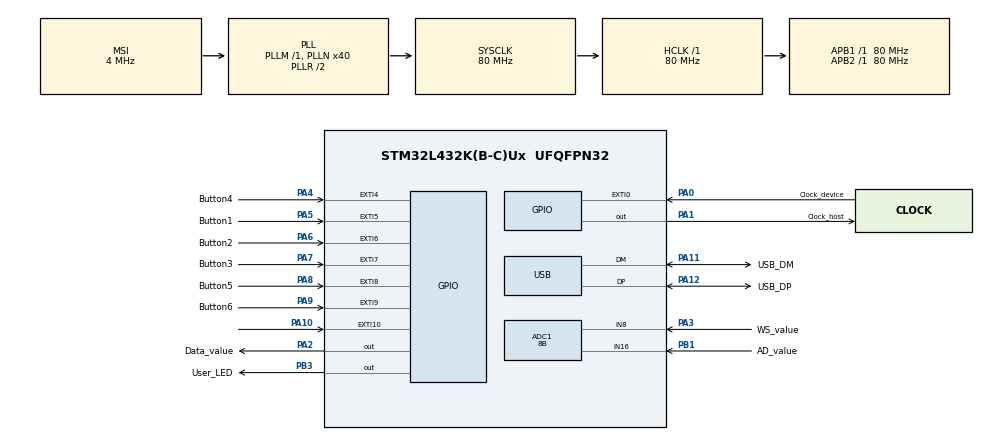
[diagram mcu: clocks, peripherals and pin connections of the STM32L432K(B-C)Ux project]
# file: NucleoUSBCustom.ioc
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ADC1.Channel-4\#ChannelRegularConversion=ADC_CHANNEL_16
ADC1.Channel-5\#ChannelRegularConversion=ADC_CHANNEL_8
ADC1.ClockPrescaler=ADC_CLOCK_SYNC_PCLK_DIV2
ADC1.ContinuousConvMode=ENABLE
ADC1.DMAContinuousRequests=ENABLE
ADC1.DataAlign=ADC_DATAALIGN_RIGHT
ADC1.DiscontinuousConvMode=DISABLE
ADC1.EOCSelection=ADC_EOC_SINGLE_CONV
ADC1.EnableAnalogWatchDog1=false
ADC1.EnableAnalogWatchDog2=false
ADC1.EnableAnalogWatchDog3=false
ADC1.EnableInjectedConversion=DISABLE
ADC1.EnableRegularConversion=ENABLE
ADC1.ExternalTrigConv=ADC_SOFTWARE_START
ADC1.ExternalTrigConvEdge=ADC_EXTERNALTRIGCONVEDGE_NONE
ADC1.LowPowerAutoWait=DISABLE
ADC1.NbrOfConversion=2
ADC1.NbrOfConversionFlag=1
ADC1.OffsetNumber-4\#ChannelRegularConversion=ADC_OFFSET_NONE
ADC1.OffsetNumber-5\#ChannelRegularConversion=ADC_OFFSET_NONE
ADC1.Overrun=ADC_OVR_DATA_PRESERVED
ADC1.OversamplingMode=DISABLE
ADC1.Rank-4\#ChannelRegularConversion=1
ADC1.Rank-5\#ChannelRegularConversion=2
ADC1.Resolution=ADC_RESOLUTION_8B
ADC1.SamplingTime-4\#ChannelRegularConversion=ADC_SAMPLETIME_640CYCLES_5
ADC1.SamplingTime-5\#ChannelRegularConversion=ADC_SAMPLETIME_640CYCLES_5
ADC1.ScanConvMode=ADC_SCAN_ENABLE
ADC1.master=1
Dma.ADC1.0.Direction=DMA_PERIPH_TO_MEMORY
Dma.ADC1.0.Instance=DMA2_Channel3
Dma.ADC1.0.MemDataAlignment=DMA_MDATAALIGN_HALFWORD
Dma.ADC1.0.MemInc=DMA_MINC_ENABLE
Dma.ADC1.0.Mode=DMA_CIRCULAR
Dma.ADC1.0.PeriphDataAlignment=DMA_PDATAALIGN_HALFWORD
Dma.ADC1.0.PeriphInc=DMA_PINC_DISABLE
Dma.ADC1.0.Priority=DMA_PRIORITY_LOW
Dma.Request0=ADC1
Mcu.Family=STM32L4
Mcu.Name=STM32L432K(B-C)Ux
Mcu.Package=UFQFPN32
NVIC.ADC1_IRQn=true\:0\:0\:false\:false\:true\:true
NVIC.DMA2_Channel3_IRQn=true\:0\:0\:false\:false\:true\:false
NVIC.EXTI0_IRQn=true\:0\:0\:false\:false\:true\:true
NVIC.EXTI15_10_IRQn=true\:0\:0\:false\:false\:true\:true
NVIC.EXTI4_IRQn=true\:0\:0\:false\:false\:true\:true
NVIC.EXTI9_5_IRQn=true\:0\:0\:false\:false\:true\:true
NVIC.PriorityGroup=NVIC_PRIORITYGROUP_4
NVIC.TIM1_UP_TIM16_IRQn=true\:0\:0\:false\:false\:true\:true
NVIC.TIM7_IRQn=true\:0\:0\:false\:false\:true\:true
NVIC.USB_IRQn=true\:0\:0\:false\:false\:true\:false
PA0.GPIO_Label=Clock_device
PA0.GPIO_ModeDefaultEXTI=GPIO_MODE_IT_RISING_FALLING
PA0.GPIO_PuPd=GPIO_PULLUP
PA0.Signal=GPXTI0
PA1.GPIO_Label=Clock_host
PA1.GPIO_ModeDefaultOutputPP=GPIO_MODE_OUTPUT_OD
PA1.GPIO_PuPd=GPIO_PULLUP
PA1.GPIO_Speed=GPIO_SPEED_FREQ_HIGH
PA1.PinState=GPIO_PIN_SET
PA1.Signal=GPIO_Output
PA10.GPIO_PuPd=GPIO_PULLUP
PA10.Signal=GPXTI10
PA11.GPIO_Label=USB_DM
PA11.Mode=Device
PA11.Signal=USB_DM
PA12.GPIO_Label=USB_DP
PA12.Mode=Device
PA12.Signal=USB_DP
PA2.GPIO_Label=Data_value
PA2.GPIO_ModeDefaultOutputPP=GPIO_MODE_OUTPUT_OD
PA2.GPIO_PuPd=GPIO_PULLUP
PA2.GPIO_Speed=GPIO_SPEED_FREQ_HIGH
PA2.PinState=GPIO_PIN_SET
PA2.Signal=GPIO_Output
PA3.GPIO_Label=WS_value
PA3.Signal=ADCx_IN8
PA4.GPIO_Label=Button4
PA4.GPIO_ModeDefaultEXTI=GPIO_MODE_IT_RISING_FALLING
PA4.GPIO_PuPd=GPIO_PULLUP
PA4.Signal=GPXTI4
PA5.GPIO_Label=Button1
PA5.GPIO_ModeDefaultEXTI=GPIO_MODE_IT_RISING_FALLING
PA5.GPIO_PuPd=GPIO_PULLUP
PA5.Signal=GPXTI5
PA6.GPIO_Label=Button2
PA6.GPIO_ModeDefaultEXTI=GPIO_MODE_IT_RISING_FALLING
PA6.GPIO_PuPd=GPIO_PULLUP
PA6.Signal=GPXTI6
PA7.GPIO_Label=Button3
PA7.GPIO_ModeDefaultEXTI=GPIO_MODE_IT_RISING_FALLING
PA7.GPIO_PuPd=GPIO_PULLUP
PA7.Signal=GPXTI7
PA8.GPIO_Label=Button5
PA8.GPIO_ModeDefaultEXTI=GPIO_MODE_IT_RISING_FALLING
PA8.GPIO_PuPd=GPIO_PULLUP
PA8.Signal=GPXTI8
PA9.GPIO_Label=Button6
PA9.GPIO_ModeDefaultEXTI=GPIO_MODE_IT_RISING_FALLING
PA9.GPIO_PuPd=GPIO_PULLUP
PA9.Signal=GPXTI9
PB1.GPIO_Label=AD_value
PB1.Signal=ADCx_IN16
PB3\ (JTDO-TRACESWO).GPIO_Label=User_LED
PB3\ (JTDO-TRACESWO).PinState=GPIO_PIN_RESET
PB3\ (JTDO-TRACESWO).Signal=GPIO_Output
ProjectManager.HeapSize=0x200
ProjectManager.StackSize=0x400
ProjectManager.TargetToolchain=SW4STM32
RCC.ADCFreq_Value=48000000
RCC.AHBFreq_Value=80000000
RCC.APB1Freq_Value=80000000
RCC.APB1TimFreq_Value=80000000
RCC.APB2Freq_Value=80000000
RCC.APB2TimFreq_Value=80000000
RCC.CortexFreq_Value=80000000
RCC.HCLKFreq_Value=80000000
RCC.HSE_VALUE=8000000
RCC.HSI48_VALUE=48000000
RCC.HSI_VALUE=16000000
RCC.LSE_VALUE=32768
RCC.MSI_VALUE=4000000
RCC.PLLN=40
RCC.PLLSAI1N=24
RCC.SYSCLKFreq_VALUE=80000000
RCC.SYSCLKSource=RCC_SYSCLKSOURCE_PLLCLK
RCC.USBFreq_Value=48000000
RCC.VCOOutputFreq_Value=160000000
SH.ADCx_IN16.0=ADC1_IN16,IN16-Single-Ended
SH.ADCx_IN8.0=ADC1_IN8,IN8-Single-Ended
TIM16.AutoReloadPreload=TIM_AUTORELOAD_PRELOAD_ENABLE
TIM16.Period=9999
TIM16.Prescaler=159
TIM7.AutoReloadPreload=TIM_AUTORELOAD_PRELOAD_ENABLE
TIM7.Period=999
TIM7.Prescaler=11
USB_DEVICE.CLASS_NAME_FS=CUSTOMHID
USB_DEVICE.VirtualMode=CustomHid
USB_DEVICE.VirtualModeFS=Custom_Hid_FS
VP_TIM16_VS_ClockSourceINT.Mode=Enable_Timer
VP_TIM6_VS_ClockSourceINT.Mode=Enable_Timer
VP_TIM7_VS_ClockSourceINT.Mode=Enable_Timer
VP_USB_DEVICE_VS_USB_DEVICE_CUSTOM_HID_FS.Mode=CUSTOM_HID_FS
board=custom

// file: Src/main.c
/**
  ******************************************************************************
  * @file           : main.c
  * @brief          : Main program body
  ******************************************************************************
  * This notice applies to any and all portions of this file
  * that are not between comment pairs USER CODE BEGIN and
  * USER CODE END. Other portions of this file, whether
  * inserted by the user or by software development tools
  * are owned by their respective copyright owners.
  *
  * Copyright (c) 2018 STMicroelectronics International N.V.
  * All rights reserved.
  *
  * Redistribution and use in source and binary forms, with or without
  * modification, are permitted, provided that the following conditions are met:
  *
  * 1. Redistribution of source code must retain the above copyright notice,
  *    this list of conditions and the following disclaimer.
  * 2. Redistributions in binary form must reproduce the above copyright notice,
  *    this list of conditions and the following disclaimer in the documentation
  *    and/or other materials provided with the distribution.
  * 3. Neither the name of STMicroelectronics nor the names of other
  *    contributors to this software may be used to endorse or promote products
  *    derived from this software without specific written permission.
  * 4. This software, including modifications and/or derivative works of this
  *    software, must execute solely and exclusively on microcontroller or
  *    microprocessor devices manufactured by or for STMicroelectronics.
  * 5. Redistribution and use of this software other than as permitted under
  *    this license is void and will automatically terminate your rights under
  *    this license.
  *
  * THIS SOFTWARE IS PROVIDED BY STMICROELECTRONICS AND CONTRIBUTORS "AS IS"
  * AND ANY EXPRESS, IMPLIED OR STATUTORY WARRANTIES, INCLUDING, BUT NOT
  * LIMITED TO, THE IMPLIED WARRANTIES OF MERCHANTABILITY, FITNESS FOR A
  * PARTICULAR PURPOSE AND NON-INFRINGEMENT OF THIRD PARTY INTELLECTUAL PROPERTY
  * RIGHTS ARE DISCLAIMED TO THE FULLEST EXTENT PERMITTED BY LAW. IN NO EVENT
  * SHALL STMICROELECTRONICS OR CONTRIBUTORS BE LIABLE FOR ANY DIRECT, INDIRECT,
  * INCIDENTAL, SPECIAL, EXEMPLARY, OR CONSEQUENTIAL DAMAGES (INCLUDING, BUT NOT
  * LIMITED TO, PROCUREMENT OF SUBSTITUTE GOODS OR SERVICES; LOSS OF USE, DATA,
  * OR PROFITS; OR BUSINESS INTERRUPTION) HOWEVER CAUSED AND ON ANY THEORY OF
  * LIABILITY, WHETHER IN CONTRACT, STRICT LIABILITY, OR TORT (INCLUDING
  * NEGLIGENCE OR OTHERWISE) ARISING IN ANY WAY OUT OF THE USE OF THIS SOFTWARE,
  * EVEN IF ADVISED OF THE POSSIBILITY OF SUCH DAMAGE.
  *
  ******************************************************************************
  */
#include "main.h"
#include "stm32l4xx_hal.h"
#include "usb_device.h"

/* USER CODE BEGIN Includes */
#include "PS2_device.h"
/* USER CODE END Includes */

ADC_HandleTypeDef hadc1;
DMA_HandleTypeDef hdma_adc1;

TIM_HandleTypeDef htim6;
TIM_HandleTypeDef htim7;
TIM_HandleTypeDef htim16;

/* USER CODE BEGIN PV */
/* Private variables ---------------------------------------------------------*/

typedef struct {
	uint8_t report_id;
	uint8_t modifier;
	uint8_t reserved;
	uint8_t keycode[8];
} keyboard_report_t;

struct keysMapHID_t {
	uint8_t report_id;
	uint8_t keys[10];
};
struct mouseHID_t mouseHID;
static keyboard_report_t keyboardHID;
static keyboard_report_t newkeyboardHID;
struct keysMapHID_t keyMapsHid;

uint8_t channel = 0;
uint8_t adc[2];
uint8_t OutBuffer[10];
uint8_t isDataReady;
uint16_t Joystick[2];
uint32_t firsted = 0;
uint32_t second = 0;

/* USER CODE END PV */

void SystemClock_Config(void);
static void MX_GPIO_Init(void);
static void MX_DMA_Init(void);
static void MX_TIM16_Init(void);
static void MX_TIM7_Init(void);
static void MX_ADC1_Init(void);
static void MX_TIM6_Init(void);

/* USER CODE BEGIN PFP */
/* Private function prototypes -----------------------------------------------*/
//void HAL_ADC_ConvCpltCallback(ADC_HandleTypeDef* hadc);
void saveKeySettings();
void readDataFromFlash();
void HAL_GPIO_EXTI_Callback(uint16_t GPIO_Pin);
bool shouldSend();
void writeButton(uint8_t number, GPIO_PinState pinState);
void HAL_ADC_ConvCpltCallback(ADC_HandleTypeDef* hadc);

/* USER CODE END PFP */

int main(void)
{

  /* MCU Configuration----------------------------------------------------------*/

  /* Reset of all peripherals, Initializes the Flash interface and the Systick. */
  HAL_Init();

  /* Configure the system clock */
  SystemClock_Config();

  /* Initialize all configured peripherals */
  MX_GPIO_Init();
  MX_DMA_Init();
  MX_USB_DEVICE_Init();
  MX_TIM16_Init();
  MX_TIM7_Init();
  MX_ADC1_Init();
  MX_TIM6_Init();
  /* USER CODE BEGIN 2 */
	PS2_Initialize();

	//readDataFromFlash();
	HAL_TIM_Base_Start_IT(&htim16);
	//HAL_ADC_Start_IT(&hadc1);
	keyboardHID.report_id = 0x01;
	keyboardHID.keycode[0]= 4;
	newkeyboardHID.report_id = 0x01;
	mouseHID.reportId = 0x02;
	keyMapsHid.report_id = 0x03;
	isDataReady = 0;
	HAL_ADC_Start_DMA(&hadc1,&Joystick[0],2);
	readDataFromFlash();
	//HAL_ADC_Start_IT(&hadc1);
  /* USER CODE END 2 */

  /* Infinite loop */
  /* USER CODE BEGIN WHILE */
	while (1) {
		//keyboardHID.keycode[0]= 4;

		//USBD_CUSTOM_HID_SendReport(&hUsbDeviceFS, &keyboardHID,sizeof(keyboard_report_t));
		if(isDataReady == 1){
		 if(OutBuffer[0] == 0x00){
			 USBD_CUSTOM_HID_SendReport(&hUsbDeviceFS, &keyMapsHid, sizeof(struct keysMapHID_t));

		 }else{
		 for(int i = 0; i<10; i++){
		 keyMapsHid.keys[i] = OutBuffer[i];
		 }
		 //keyMapsHid.keys = OutBuffer;

		 saveKeySettings();
		 }
		 isDataReady = 0;

		 }
  /* USER CODE END WHILE */

	}

}

void SystemClock_Config(void)
{

  RCC_OscInitTypeDef RCC_OscInitStruct;
  RCC_ClkInitTypeDef RCC_ClkInitStruct;
  RCC_PeriphCLKInitTypeDef PeriphClkInit;

    /**Initializes the CPU, AHB and APB busses clocks
    */
  RCC_OscInitStruct.OscillatorType = RCC_OSCILLATORTYPE_MSI;
  RCC_OscInitStruct.MSIState = RCC_MSI_ON;
  RCC_OscInitStruct.MSICalibrationValue = 0;
  RCC_OscInitStruct.MSIClockRange = RCC_MSIRANGE_6;
  RCC_OscInitStruct.PLL.PLLState = RCC_PLL_ON;
  RCC_OscInitStruct.PLL.PLLSource = RCC_PLLSOURCE_MSI;
  RCC_OscInitStruct.PLL.PLLM = 1;
  RCC_OscInitStruct.PLL.PLLN = 40;
  RCC_OscInitStruct.PLL.PLLP = RCC_PLLP_DIV7;
  RCC_OscInitStruct.PLL.PLLQ = RCC_PLLQ_DIV2;
  RCC_OscInitStruct.PLL.PLLR = RCC_PLLR_DIV2;
  if (HAL_RCC_OscConfig(&RCC_OscInitStruct) != HAL_OK)
  {
    _Error_Handler(__FILE__, __LINE__);
  }

    /**Initializes the CPU, AHB and APB busses clocks
    */
  RCC_ClkInitStruct.ClockType = RCC_CLOCKTYPE_HCLK|RCC_CLOCKTYPE_SYSCLK
                              |RCC_CLOCKTYPE_PCLK1|RCC_CLOCKTYPE_PCLK2;
  RCC_ClkInitStruct.SYSCLKSource = RCC_SYSCLKSOURCE_PLLCLK;
  RCC_ClkInitStruct.AHBCLKDivider = RCC_SYSCLK_DIV1;
  RCC_ClkInitStruct.APB1CLKDivider = RCC_HCLK_DIV1;
  RCC_ClkInitStruct.APB2CLKDivider = RCC_HCLK_DIV1;

  if (HAL_RCC_ClockConfig(&RCC_ClkInitStruct, FLASH_LATENCY_4) != HAL_OK)
  {
    _Error_Handler(__FILE__, __LINE__);
  }

  PeriphClkInit.PeriphClockSelection = RCC_PERIPHCLK_USB|RCC_PERIPHCLK_ADC;
  PeriphClkInit.AdcClockSelection = RCC_ADCCLKSOURCE_PLLSAI1;
  PeriphClkInit.UsbClockSelection = RCC_USBCLKSOURCE_PLLSAI1;
  PeriphClkInit.PLLSAI1.PLLSAI1Source = RCC_PLLSOURCE_MSI;
  PeriphClkInit.PLLSAI1.PLLSAI1M = 1;
  PeriphClkInit.PLLSAI1.PLLSAI1N = 24;
  PeriphClkInit.PLLSAI1.PLLSAI1P = RCC_PLLP_DIV7;
  PeriphClkInit.PLLSAI1.PLLSAI1Q = RCC_PLLQ_DIV2;
  PeriphClkInit.PLLSAI1.PLLSAI1R = RCC_PLLR_DIV2;
  PeriphClkInit.PLLSAI1.PLLSAI1ClockOut = RCC_PLLSAI1_48M2CLK|RCC_PLLSAI1_ADC1CLK;
  if (HAL_RCCEx_PeriphCLKConfig(&PeriphClkInit) != HAL_OK)
  {
    _Error_Handler(__FILE__, __LINE__);
  }

    /**Configure the main internal regulator output voltage
    */
  if (HAL_PWREx_ControlVoltageScaling(PWR_REGULATOR_VOLTAGE_SCALE1) != HAL_OK)
  {
    _Error_Handler(__FILE__, __LINE__);
  }

    /**Configure the Systick interrupt time
    */
  HAL_SYSTICK_Config(HAL_RCC_GetHCLKFreq()/1000);

    /**Configure the Systick
    */
  HAL_SYSTICK_CLKSourceConfig(SYSTICK_CLKSOURCE_HCLK);

  /* SysTick_IRQn interrupt configuration */
  HAL_NVIC_SetPriority(SysTick_IRQn, 0, 0);
}

/* ADC1 init function */
static void MX_ADC1_Init(void)
{

  ADC_ChannelConfTypeDef sConfig;

    /**Common config
    */
  hadc1.Instance = ADC1;
  hadc1.Init.ClockPrescaler = ADC_CLOCK_SYNC_PCLK_DIV4;
  hadc1.Init.Resolution = ADC_RESOLUTION_8B;
  hadc1.Init.DataAlign = ADC_DATAALIGN_RIGHT;
  hadc1.Init.ScanConvMode = ADC_SCAN_ENABLE;
  hadc1.Init.EOCSelection = ADC_EOC_SEQ_CONV;
  hadc1.Init.LowPowerAutoWait = DISABLE;
  hadc1.Init.ContinuousConvMode = ENABLE;
  hadc1.Init.NbrOfConversion = 2;
  hadc1.Init.DiscontinuousConvMode = DISABLE;
  hadc1.Init.NbrOfDiscConversion = 1;
  hadc1.Init.ExternalTrigConv = ADC_SOFTWARE_START;
  hadc1.Init.ExternalTrigConvEdge = ADC_EXTERNALTRIGCONVEDGE_NONE;
  hadc1.Init.DMAContinuousRequests = ENABLE;
  hadc1.Init.Overrun = ADC_OVR_DATA_PRESERVED;
  hadc1.Init.OversamplingMode = DISABLE;
  if (HAL_ADC_Init(&hadc1) != HAL_OK)
  {
    _Error_Handler(__FILE__, __LINE__);
  }

    /**Configure Regular Channel
    */
  sConfig.Channel = ADC_CHANNEL_16;
  sConfig.Rank = ADC_REGULAR_RANK_1;
  sConfig.SamplingTime = ADC_SAMPLETIME_640CYCLES_5;
  sConfig.SingleDiff = ADC_SINGLE_ENDED;
  sConfig.OffsetNumber = ADC_OFFSET_NONE;
  sConfig.Offset = 0;
  if (HAL_ADC_ConfigChannel(&hadc1, &sConfig) != HAL_OK)
  {
    _Error_Handler(__FILE__, __LINE__);
  }

    /**Configure Regular Channel
    */
  sConfig.Channel = ADC_CHANNEL_8;
  sConfig.Rank = ADC_REGULAR_RANK_2;
  if (HAL_ADC_ConfigChannel(&hadc1, &sConfig) != HAL_OK)
  {
    _Error_Handler(__FILE__, __LINE__);
  }

}

/* TIM6 init function */
static void MX_TIM6_Init(void)
{

  TIM_MasterConfigTypeDef sMasterConfig;

  htim6.Instance = TIM6;
  htim6.Init.Prescaler = 0;
  htim6.Init.CounterMode = TIM_COUNTERMODE_UP;
  htim6.Init.Period = 0;
  htim6.Init.AutoReloadPreload = TIM_AUTORELOAD_PRELOAD_DISABLE;
  if (HAL_TIM_Base_Init(&htim6) != HAL_OK)
  {
    _Error_Handler(__FILE__, __LINE__);
  }

  sMasterConfig.MasterOutputTrigger = TIM_TRGO_RESET;
  sMasterConfig.MasterSlaveMode = TIM_MASTERSLAVEMODE_DISABLE;
  if (HAL_TIMEx_MasterConfigSynchronization(&htim6, &sMasterConfig) != HAL_OK)
  {
    _Error_Handler(__FILE__, __LINE__);
  }

}

/* TIM7 init function */
static void MX_TIM7_Init(void)
{

  TIM_MasterConfigTypeDef sMasterConfig;

  htim7.Instance = TIM7;
  htim7.Init.Prescaler = 11;
  htim7.Init.CounterMode = TIM_COUNTERMODE_UP;
  htim7.Init.Period = 999;
  htim7.Init.AutoReloadPreload = TIM_AUTORELOAD_PRELOAD_ENABLE;
  if (HAL_TIM_Base_Init(&htim7) != HAL_OK)
  {
    _Error_Handler(__FILE__, __LINE__);
  }

  sMasterConfig.MasterOutputTrigger = TIM_TRGO_RESET;
  sMasterConfig.MasterSlaveMode = TIM_MASTERSLAVEMODE_DISABLE;
  if (HAL_TIMEx_MasterConfigSynchronization(&htim7, &sMasterConfig) != HAL_OK)
  {
    _Error_Handler(__FILE__, __LINE__);
  }

}

/* TIM16 init function */
static void MX_TIM16_Init(void)
{

  htim16.Instance = TIM16;
  htim16.Init.Prescaler = 159;
  htim16.Init.CounterMode = TIM_COUNTERMODE_UP;
  htim16.Init.Period = 9999;
  htim16.Init.ClockDivision = TIM_CLOCKDIVISION_DIV1;
  htim16.Init.RepetitionCounter = 0;
  htim16.Init.AutoReloadPreload = TIM_AUTORELOAD_PRELOAD_ENABLE;
  if (HAL_TIM_Base_Init(&htim16) != HAL_OK)
  {
    _Error_Handler(__FILE__, __LINE__);
  }

}

static void MX_DMA_Init(void)
{
  /* DMA controller clock enable */
  __HAL_RCC_DMA2_CLK_ENABLE();

  /* DMA interrupt init */
  /* DMA2_Channel3_IRQn interrupt configuration */
  HAL_NVIC_SetPriority(DMA2_Channel3_IRQn, 0, 0);
  HAL_NVIC_EnableIRQ(DMA2_Channel3_IRQn);

}

/** Configure pins as
        * Analog
        * Input
        * Output
        * EVENT_OUT
        * EXTI
*/
static void MX_GPIO_Init(void)
{

  GPIO_InitTypeDef GPIO_InitStruct;

  /* GPIO Ports Clock Enable */
  __HAL_RCC_GPIOA_CLK_ENABLE();
  __HAL_RCC_GPIOB_CLK_ENABLE();

  /*Configure GPIO pin Output Level */
  HAL_GPIO_WritePin(GPIOA, Clock_host_Pin|Data_value_Pin, GPIO_PIN_SET);

  /*Configure GPIO pin Output Level */
  HAL_GPIO_WritePin(User_LED_GPIO_Port, User_LED_Pin, GPIO_PIN_RESET);

  /*Configure GPIO pins : Clock_device_Pin Button4_Pin Button1_Pin Button2_Pin
                           Button3_Pin Button5_Pin Button6_Pin */
  GPIO_InitStruct.Pin = Clock_device_Pin|Button4_Pin|Button1_Pin|Button2_Pin
                          |Button3_Pin|Button5_Pin|Button6_Pin;
  GPIO_InitStruct.Mode = GPIO_MODE_IT_RISING_FALLING;
  GPIO_InitStruct.Pull = GPIO_PULLUP;
  HAL_GPIO_Init(GPIOA, &GPIO_InitStruct);

  /*Configure GPIO pins : Clock_host_Pin Data_value_Pin */
  GPIO_InitStruct.Pin = Clock_host_Pin|Data_value_Pin;
  GPIO_InitStruct.Mode = GPIO_MODE_OUTPUT_OD;
  GPIO_InitStruct.Pull = GPIO_PULLUP;
  GPIO_InitStruct.Speed = GPIO_SPEED_FREQ_HIGH;
  HAL_GPIO_Init(GPIOA, &GPIO_InitStruct);

  /*Configure GPIO pin : PA10 */
  GPIO_InitStruct.Pin = GPIO_PIN_10;
  GPIO_InitStruct.Mode = GPIO_MODE_IT_RISING;
  GPIO_InitStruct.Pull = GPIO_PULLUP;
  HAL_GPIO_Init(GPIOA, &GPIO_InitStruct);

  /*Configure GPIO pin : User_LED_Pin */
  GPIO_InitStruct.Pin = User_LED_Pin;
  GPIO_InitStruct.Mode = GPIO_MODE_OUTPUT_PP;
  GPIO_InitStruct.Pull = GPIO_NOPULL;
  GPIO_InitStruct.Speed = GPIO_SPEED_FREQ_LOW;
  HAL_GPIO_Init(User_LED_GPIO_Port, &GPIO_InitStruct);

  /* EXTI interrupt init*/
  HAL_NVIC_SetPriority(EXTI0_IRQn, 0, 0);
  HAL_NVIC_EnableIRQ(EXTI0_IRQn);

  HAL_NVIC_SetPriority(EXTI4_IRQn, 0, 0);
  HAL_NVIC_EnableIRQ(EXTI4_IRQn);

  HAL_NVIC_SetPriority(EXTI9_5_IRQn, 0, 0);
  HAL_NVIC_EnableIRQ(EXTI9_5_IRQn);

  HAL_NVIC_SetPriority(EXTI15_10_IRQn, 0, 0);
  HAL_NVIC_EnableIRQ(EXTI15_10_IRQn);

}

/* USER CODE BEGIN 4 */
void saveKeySettings() {

	HAL_FLASH_Unlock();
	__HAL_FLASH_CLEAR_FLAG(
			FLASH_FLAG_EOP | FLASH_FLAG_OPERR | FLASH_FLAG_WRPERR | FLASH_FLAG_PGAERR | FLASH_FLAG_PGSERR);

	static FLASH_EraseInitTypeDef EraseInitStruct;
	EraseInitStruct.TypeErase = FLASH_TYPEERASE_PAGES;
	EraseInitStruct.Page = 64;
	EraseInitStruct.NbPages = 1;
	EraseInitStruct.Banks = FLASH_BANK_1;
	static uint32_t SectorError;
	HAL_FLASHEx_Erase(&EraseInitStruct, &SectorError);
	CLEAR_BIT(FLASH->SR, (FLASH_SR_EOP));
	uint32_t startaddres = 0x08020000;
	uint32_t endaddres = 0x0802000A;
	int i = 0;
	uint64_t DW[2];
	DW[0] = 0;
	DW[1] = 0;
	for (int k = 0; k < 8; k++) {
		DW[0] = DW[0] | ((uint64_t) (keyMapsHid.keys[k])) << (k * 8);
	}
	DW[1] = keyMapsHid.keys[8] | (keyMapsHid.keys[9] << 8);

	while (startaddres < endaddres) {
		if (HAL_FLASH_Program(FLASH_TYPEPROGRAM_DOUBLEWORD, startaddres, DW[i])
				== HAL_OK) {
			startaddres += 8;
			i += 1;

		} else {

			break;
		}
	}
	HAL_FLASH_Lock();

}

void HAL_ADC_ConvCpltCallback(ADC_HandleTypeDef* hadc){
	if(hadc == &hadc1){

	//	adc[channel] = HAL_ADC_GetValue(&hadc1);
		//channel++;
		//if(channel == 2){
			//channel = 0;
			if(Joystick[0]<65){
				newkeyboardHID.keycode[6] = keyMapsHid.keys[6];//26;
			}else if(Joystick[0]>150){
				newkeyboardHID.keycode[6] = keyMapsHid.keys[7];//22;
			}else{
				newkeyboardHID.keycode[6] = 0x00;
			}

			if(Joystick[1]<65){
				newkeyboardHID.keycode[7] = keyMapsHid.keys[8];//4;
			}else if(Joystick[1]>150){
				newkeyboardHID.keycode[7] = keyMapsHid.keys[9];//7;
			}else{
				newkeyboardHID.keycode[7] = 0x00;
			}
			if(shouldSend()){
				USBD_CUSTOM_HID_SendReport(&hUsbDeviceFS, &keyboardHID,
										sizeof( keyboard_report_t));
			}
		//}

	}
}

void readDataFromFlash() {

	uint32_t startaddress = 0x08020000;
	uint32_t endaddress = 0x0802000A;
	int i = 0;
	while (startaddress < endaddress) {
		keyMapsHid.keys[i] = *(__IO uint8_t *) startaddress;
		startaddress += 1;
		i += 1;

	}

}

void HAL_GPIO_EXTI_Callback(uint16_t GPIO_Pin) {

	GPIO_PinState pinState = HAL_GPIO_ReadPin(GPIOA, GPIO_Pin);

	if (GPIO_Pin == Clock_device_Pin && preSendingState == false) {
		if (pinState == GPIO_PIN_RESET && Sending == false) {

			PS2_Handle_Reciving();
			++firsted;
		} else if (pinState == GPIO_PIN_RESET && Sending == true) {
			PS2_Handle_Sending();

		}
	}else if(GPIO_Pin != 1) {

		switch (GPIO_Pin) {
		case Button1_Pin:
			writeButton(1, pinState);
			break;
		case Button2_Pin:
			writeButton(2, pinState);
			break;
		case Button3_Pin:
			writeButton(3, pinState);
			break;
		case Button4_Pin:
			writeButton(4, pinState);
			break;
		case Button5_Pin:
			writeButton(5, pinState);
			break;
		case Button6_Pin:
			writeButton(6, pinState);
			break;

			}
		if (shouldSend()) {
						keyboardHID = newkeyboardHID;
						USBD_CUSTOM_HID_SendReport(&hUsbDeviceFS, &keyboardHID,
								sizeof( keyboard_report_t));
		}

	}
}

bool shouldSend() {
	for (int i = 0; i < sizeof(keyboardHID.keycode); i++) {
		if (newkeyboardHID.keycode[i] != keyboardHID.keycode[i] || keyboardHID.modifier != newkeyboardHID.modifier) {
			keyboardHID = newkeyboardHID;
			return true;
		}
	}
	return false;
}

void writeButton(uint8_t number, GPIO_PinState pinState) {

	if (pinState == GPIO_PIN_RESET) {
		if(keyMapsHid.keys[number-1] > 0x65){
			newkeyboardHID.modifier = newkeyboardHID.modifier| ((1<<keyMapsHid.keys[(number-1)]-0x66));
		}else
		newkeyboardHID.keycode[number-1] = keyMapsHid.keys[number-1];
	} else {
		if(keyMapsHid.keys[number-1] > 0x65){
					newkeyboardHID.modifier = newkeyboardHID.modifier^ ((1<<keyMapsHid.keys[(number-1)]-0x66));
		}else{
		newkeyboardHID.keycode[number-1] = 0x00;
		}
	}
}

void HAL_TIM_PeriodElapsedCallback(TIM_HandleTypeDef *htim) {

	if (htim == &htim7) {

		HAL_TIM_Base_Stop_IT(htim);
		//end = HAL_GetTick();
		//diff = end - start;
		HAL_GPIO_WritePin(Data_value_GPIO_Port, Data_value_Pin, GPIO_PIN_RESET);
		HAL_GPIO_WritePin(Clock_host_GPIO_Port, Clock_host_Pin, GPIO_PIN_SET);
		preSendingState = false;
		Sending = true;

	} else if (htim == &htim16) {
		if (first == true) {
			uint8_t toSend = 0xFF;
			PS2_SendPackage(&toSend);
			first = false;
		} else if (StreamMode == false && Sending == false && Reciving == false) {
			uint8_t toSend;
			if (Recived) {
				PS2_Handle_Recived();
			} else if (intellimouseState > 10) {
				toSend = 0xF4;
				PS2_SendPackage(&toSend);

			} else {
				switch (intellimouseState++) {
				case 1:
					toSend = 0xC8;
					break;
				case 3:
					toSend = 0x64;
					break;
				case 5:
					toSend = 0x50;
					break;
				case 6:
					toSend = 0xE8;
					break;
				case 7:
					toSend = 0x03;
					break;
				case 8:
					toSend = 0xE7;
					break;

				case 10:
					toSend = 40;
					break;
				default:
					toSend = 0xF3;
					break;
				}
				PS2_SendPackage(&toSend);
			}
		}
	}
}
/* USER CODE END 4 */

void _Error_Handler(char *file, int line)
{
	while (1) {
	}
}

/************************ (C) COPYRIGHT STMicroelectronics *****END OF FILE****/
